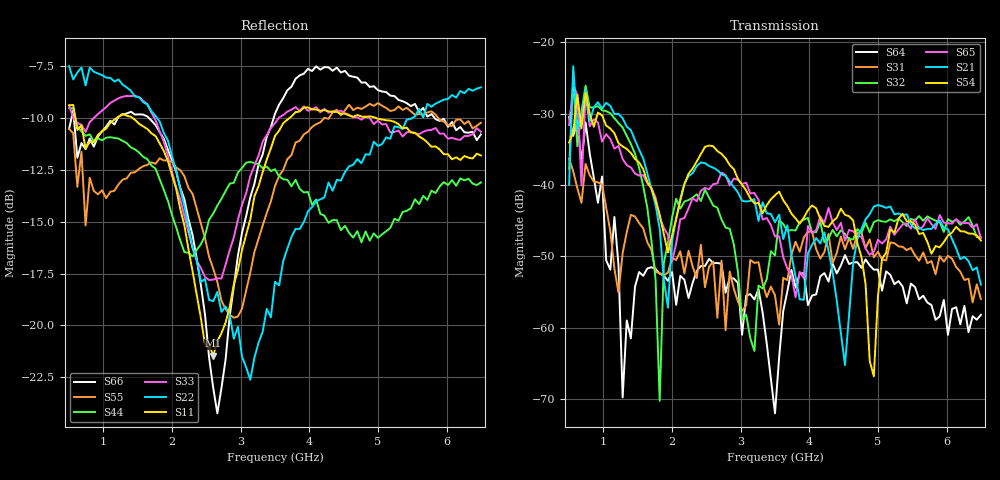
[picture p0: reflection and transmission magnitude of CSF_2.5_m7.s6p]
!Keysight Technologies,M9804A,MY58100912,A.14.10.03
!Date: Thursday, April 27, 2023 10:28:33
!Correction: S11(C  6-Port  )
!S12(C  6-Port  )
!S13(C  6-Port  )
!S14(C  6-Port  )
!S15(C  6-Port  )
!S16(C  6-Port  )
!S21(C  6-Port  )
!S22(C  6-Port  )
!S23(C  6-Port  )
!S24(C  6-Port  )
!S25(C  6-Port  )
!S26(C  6-Port  )
!S31(C  6-Port  )
!S32(C  6-Port  )
!S33(C  6-Port  )
!S34(C  6-Port  )
!S35(C  6-Port  )
!S36(C  6-Port  )
!S41(C  6-Port  )
!S42(C  6-Port  )
!S43(C  6-Port  )
!S44(C  6-Port  )
!S45(C  6-Port  )
!S46(C  6-Port  )
!S51(C  6-Port  )
!S52(C  6-Port  )
!S53(C  6-Port  )
!S54(C  6-Port  )
!S55(C  6-Port  )
!S56(C  6-Port  )
!S61(C  6-Port  )
!S62(C  6-Port  )
!S63(C  6-Port  )
!S64(C  6-Port  )
!S65(C  6-Port  )
!S66(C  6-Port  )
!S6P File: Measurement: :
# Hz S  RI  R 50
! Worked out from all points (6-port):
!   101 points, 500 MHz to 6.5 GHz, reference 50 ohm
!   strongest paths, dB at 500 MHz, 2 GHz, 3.5 GHz, 5 GHz, 6.5 GHz:
!     S54: -34.0, -47.0, -41.4, -55.6, -47.8
!     S21: -40.0, -47.9, -45.2, -42.8, -53.9
!     S65: -31.6, -50.7, -47.2, -47.7, -47.4
!     S32: -37.7, -44.6, -49.9, -44.9, -47.3
!     S31: -36.3, -50.2, -55.5, -49.4, -56.0
!     S64: -30.5, -52.2, -72.0, -51.8, -58.2
!   lowest |S11| = -21.5 dB at 2.6 GHz (marker M1), VSWR 1.18, Z = 42.5 + j2.15 ohm
!   |S11| at or under -10 dB: 591.4 MHz to 1.191 GHz (599.9 MHz wide, 67.3 % of centre); 1.427 GHz to 3.71 GHz (2.283 GHz wide, 88.9 % of centre); 4.974 GHz to end of sweep
